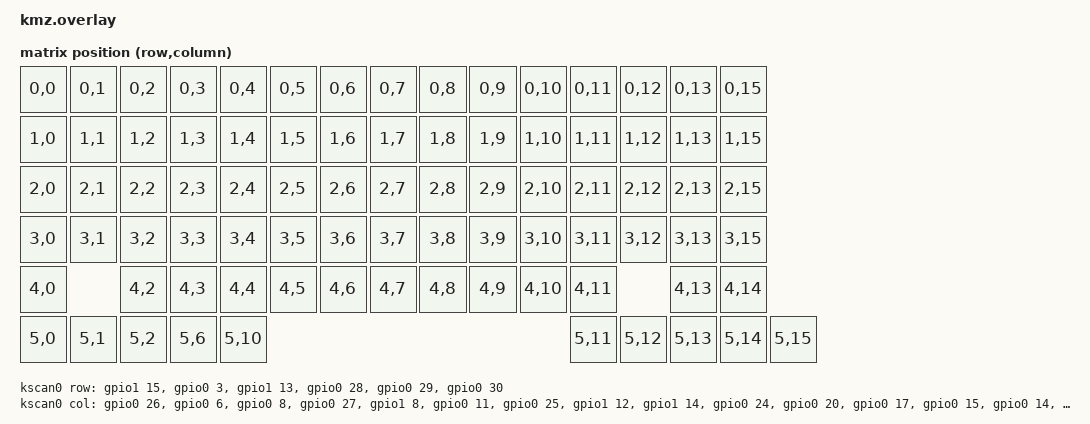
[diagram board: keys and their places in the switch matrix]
#include <dt-bindings/zmk/matrix_transform.h>

/ {
    chosen {
        zmk,kscan = &kscan0;
        zmk,matrix_transform = &default_transform;
        zephyr,code-partition = &code_partition;
    };

    kscan0: kscan_0 {
        compatible = "zmk,kscan-gpio-matrix";
        label = "KSCAN";
        diode-direction = "col2row"; 

        row-gpios
            = <&gpio1 15 (GPIO_ACTIVE_HIGH | GPIO_PULL_DOWN)> // ROW0
            , <&gpio0 3  (GPIO_ACTIVE_HIGH | GPIO_PULL_DOWN)> // ROW1
            , <&gpio1 13 (GPIO_ACTIVE_HIGH | GPIO_PULL_DOWN)> // ROW2 (Now rewired to P1.13)
            , <&gpio0 28 (GPIO_ACTIVE_HIGH | GPIO_PULL_DOWN)> // ROW3
            , <&gpio0 29 (GPIO_ACTIVE_HIGH | GPIO_PULL_DOWN)> // ROW4
            , <&gpio0 30 (GPIO_ACTIVE_HIGH | GPIO_PULL_DOWN)> // ROW5
            ;

        col-gpios
            = <&gpio0 26 GPIO_ACTIVE_HIGH> // COL0
            , <&gpio0 6  GPIO_ACTIVE_HIGH> // COL1
            , <&gpio0 8  GPIO_ACTIVE_HIGH> // COL2
            , <&gpio0 27 GPIO_ACTIVE_HIGH> // COL3
            , <&gpio1 8  GPIO_ACTIVE_HIGH> // COL4
            , <&gpio0 11 GPIO_ACTIVE_HIGH> // COL5
            , <&gpio0 25 GPIO_ACTIVE_HIGH> // COL6
            , <&gpio1 12 GPIO_ACTIVE_HIGH> // COL7
            , <&gpio1 14 GPIO_ACTIVE_HIGH> // COL8
            , <&gpio0 24 GPIO_ACTIVE_HIGH> // COL9
            , <&gpio0 20 GPIO_ACTIVE_HIGH> // COL10
            , <&gpio0 17 GPIO_ACTIVE_HIGH> // COL11
            , <&gpio0 15 GPIO_ACTIVE_HIGH> // COL12
            , <&gpio0 14 GPIO_ACTIVE_HIGH> // COL13
            , <&gpio0 13 GPIO_ACTIVE_HIGH> // COL14
            , <&gpio0 16 GPIO_ACTIVE_HIGH> // COL15
            ;
    };

    default_transform: keymap_transform_0 {
        compatible = "zmk,matrix-transform";
        columns = <16>;
        rows = <6>;

        map = <
            RC(0,0) RC(0,1) RC(0,2) RC(0,3) RC(0,4) RC(0,5) RC(0,6) RC(0,7) RC(0,8) RC(0,9) RC(0,10) RC(0,11) RC(0,12) RC(0,13) RC(0,15)
            RC(1,0) RC(1,1) RC(1,2) RC(1,3) RC(1,4) RC(1,5) RC(1,6) RC(1,7) RC(1,8) RC(1,9) RC(1,10) RC(1,11) RC(1,12) RC(1,13) RC(1,15)
            RC(2,0) RC(2,1) RC(2,2) RC(2,3) RC(2,4) RC(2,5) RC(2,6) RC(2,7) RC(2,8) RC(2,9) RC(2,10) RC(2,11) RC(2,12) RC(2,13) RC(2,15)
            RC(3,0) RC(3,1) RC(3,2) RC(3,3) RC(3,4) RC(3,5) RC(3,6) RC(3,7) RC(3,8) RC(3,9) RC(3,10) RC(3,11) RC(3,12) RC(3,13) RC(3,15)
            RC(4,0)         RC(4,2) RC(4,3) RC(4,4) RC(4,5) RC(4,6) RC(4,7) RC(4,8) RC(4,9) RC(4,10) RC(4,11)          RC(4,13) RC(4,14)
            RC(5,0) RC(5,1) RC(5,2)                         RC(5,6)                         RC(5,10) RC(5,11) RC(5,12) RC(5,13) RC(5,14) RC(5,15)
        >;
    };
};

/* Overwrite the default board partitions to start at 0x0 */
&flash0 {
    /delete-node/ partitions;
    partitions {
        compatible = "fixed-partitions";
        #address-cells = <1>;
        #size-cells = <1>;
        code_partition: partition@0 {
            reg = <0x00000000 0x000f0000>;
        };
        storage_partition: partition@f0000 {
            reg = <0x000f0000 0x00010000>;
        };
    };
};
